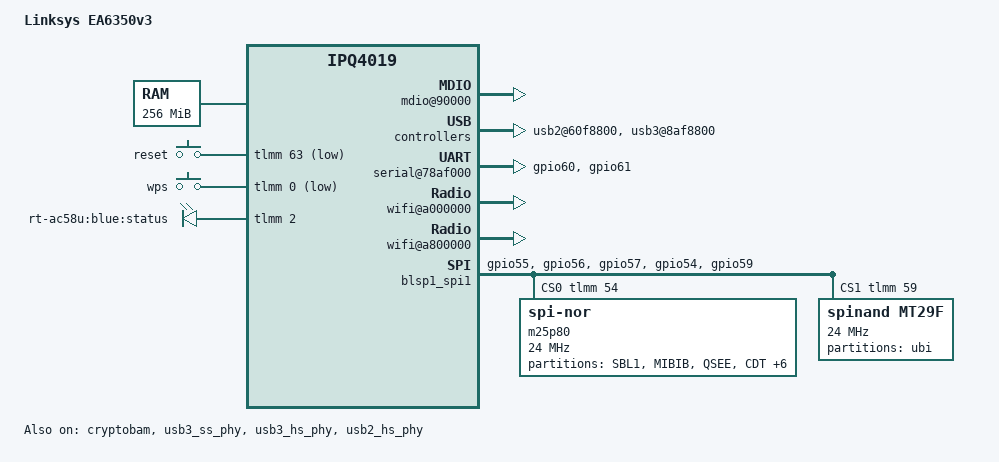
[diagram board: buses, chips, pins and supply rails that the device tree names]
/* Copyright (c) 2015, The Linux Foundation. All rights reserved.
 *
 * Permission to use, copy, modify, and/or distribute this software for any
 * purpose with or without fee is hereby granted, provided that the above
 * copyright notice and this permission notice appear in all copies.
 *
 * THE SOFTWARE IS PROVIDED "AS IS" AND THE AUTHOR DISCLAIMS ALL WARRANTIES
 * WITH REGARD TO THIS SOFTWARE INCLUDING ALL IMPLIED WARRANTIES OF
 * MERCHANTABILITY AND FITNESS. IN NO EVENT SHALL THE AUTHOR BE LIABLE FOR
 * ANY SPECIAL, DIRECT, INDIRECT, OR CONSEQUENTIAL DAMAGES OR ANY DAMAGES
 * WHATSOEVER RESULTING FROM LOSS OF USE, DATA OR PROFITS, WHETHER IN AN
 * ACTION OF CONTRACT, NEGLIGENCE OR OTHER TORTIOUS ACTION, ARISING OUT OF
 * OR IN CONNECTION WITH THE USE OR PERFORMANCE OF THIS SOFTWARE.
 *
 */

#include "qcom-ipq4019.dtsi"
#include <dt-bindings/gpio/gpio.h>
#include <dt-bindings/input/input.h>
#include <dt-bindings/soc/qcom,tcsr.h>

/ {
	model = "Linksys EA6350v3";
	compatible = "linksys,ea6350v3", "qcom,ipq4019";

	memory {
		device_type = "memory";
		reg = <0x80000000 0x10000000>;
	};

	aliases {
		led-boot = &power;
		led-failsafe = &power;
		led-running = &power;
		led-upgrade = &power;
	};

	soc {
		mdio@90000 {
			status = "okay";
		};

		ess-psgmii@98000 {
			status = "okay";
		};

		tcsr@1949000 {
			compatible = "qcom,tcsr";
			reg = <0x1949000 0x100>;
			qcom,wifi_glb_cfg = <TCSR_WIFI_GLB_CFG>;
		};

		tcsr@194b000 {
			compatible = "qcom,tcsr";
			reg = <0x194b000 0x100>;
			qcom,usb-hsphy-mode-select = <TCSR_USB_HSPHY_HOST_MODE>;
		};

		ess_tcsr@1953000 {
			compatible = "qcom,tcsr";
			reg = <0x1953000 0x1000>;
			qcom,ess-interface-select = <TCSR_ESS_PSGMII>;
		};

		tcsr@1957000 {
			compatible = "qcom,tcsr";
			reg = <0x1957000 0x100>;
			qcom,wifi_noc_memtype_m0_m2 = <TCSR_WIFI_NOC_MEMTYPE_M0_M2>;
		};

		usb2@60f8800 {
			status = "okay";
		};

		serial@78af000 {
			pinctrl-0 = <&serial_pins>;
			pinctrl-names = "default";
			status = "okay";
		};

		usb3@8af8800 {
			status = "okay";
		};

		crypto@8e3a000 {
			status = "okay";
		};

		wifi@a000000 {
			status = "okay";
			qcom,ath10k-calibration-variant = "linksys-ea6350v3";
		};

		wifi@a800000 {
			status = "okay";
			qcom,ath10k-calibration-variant = "linksys-ea6350v3";
		};

		watchdog@b017000 {
			status = "okay";
		};

		ess-switch@c000000 {
			status = "okay";
		};

		edma@c080000 {
			status = "okay";
		};
	};

	gpio-keys {
		compatible = "gpio-keys";

		reset {
			label = "reset";
			gpios = <&tlmm 63 GPIO_ACTIVE_LOW>;
			linux,code = <KEY_RESTART>;
		};

		wps {
			label = "wps";
			gpios = <&tlmm 0 GPIO_ACTIVE_LOW>;
			linux,code = <KEY_WPS_BUTTON>;
		};
	};

	gpio-leds {
		compatible = "gpio-leds";

		power: status {
			label = "rt-ac58u:blue:status";
			gpios = <&tlmm 2 GPIO_ACTIVE_HIGH>;
		};
	};
};

&cryptobam {
	status = "okay";
};

&blsp_dma {
	status = "okay";
};

&tlmm {
	serial_pins: serial_pinmux {
		mux {
			pins = "gpio60", "gpio61";
			function = "blsp_uart0";
			bias-disable;
		};
	};

	spi_0_pins: spi_0_pinmux {
		mux {
			function = "blsp_spi0";
			pins = "gpio55", "gpio56", "gpio57";
			drive-strength = <12>;
			bias-disable;
		};

		mux_cs {
			function = "gpio";
			pins = "gpio54", "gpio59";
			drive-strength = <2>;
			bias-disable;
			output-high;
		};
	};
};

&blsp1_spi1 { /* BLSP1 QUP1 */
	pinctrl-0 = <&spi_0_pins>;
	pinctrl-names = "default";
	status = "okay";
	cs-gpios = <&tlmm 54 GPIO_ACTIVE_HIGH>,
		   <&tlmm 59 GPIO_ACTIVE_HIGH>;

	m25p80@0 {
		#address-cells = <1>;
		#size-cells = <0>;
		/*
		 * U-boot looks for "n25q128a11" node,
		 * if we don't have it, it will spit out the following warning:
		 * "ipq: fdt fixup unable to find compatible node".
		 */
		compatible = "jedec,spi-nor";
		reg = <0>;
		linux,modalias = "m25p80", "mx25l1606e", "n25q128a11";
		spi-max-frequency = <24000000>;

		partitions {
			compatible = "fixed-partitions";
			#address-cells = <1>;
			#size-cells = <1>;

			partition0@0 {
				label = "SBL1";
				reg = <0x00000000 0x00040000>;
				read-only;
			};
			partition1@40000 {
				label = "MIBIB";
				reg = <0x00040000 0x00020000>;
				read-only;
			};
			partition2@60000 {
				label = "QSEE";
				reg = <0x00060000 0x00060000>;
				read-only;
			};
			partition3@c0000 {
				label = "CDT";
				reg = <0x000c0000 0x00010000>;
				read-only;
			};
			partition4@d0000 {
				label = "APPSBLENV";
				reg = <0x000d0000 0x00010000>;
				read-only;
			};
			partition5@e0000 {
				label = "APPSBL"; /* uboot */
				reg = <0x000e0000 0x00080000>;
				read-only;
			};
			partition6@160000 {
				label = "ART";
				reg = <0x00160000 0x00010000>;
				read-only;
			};
			partition7@170000 {
				label = "u_env";
				reg = <0x00170000 0x00020000>;
			};
			partition8@190000 {
				label = "s_env";
				reg = <0x00190000 0x00020000>;
			};
			partition9@1b0000 {
				label = "devinfo";
				reg = <0x001b0000 0x00010000>;
			};
			/* 0x001c0000 - 0x00200000 unused */
		};
	};
	mt29f@1 {
                status = "okay";
                #address-cells = <1>;
                #size-cells = <0>;
                compatible = "spinand,mt29f", "w25n01gv";
                reg = <1>;
                spi-max-frequency = <24000000>;
                partitions {
                        compatible = "fixed-partitions";
                        #address-cells = <1>;
                        #size-cells = <1>;
			partition0@0 {
                                label = "ubi";
                                reg = <0x00000000 0x08000000>;
                        };

                };
        };

};

&usb3_ss_phy {
	status = "okay";
};

&usb3_hs_phy {
	status = "okay";
};

&usb2_hs_phy {
	status = "okay";
};
